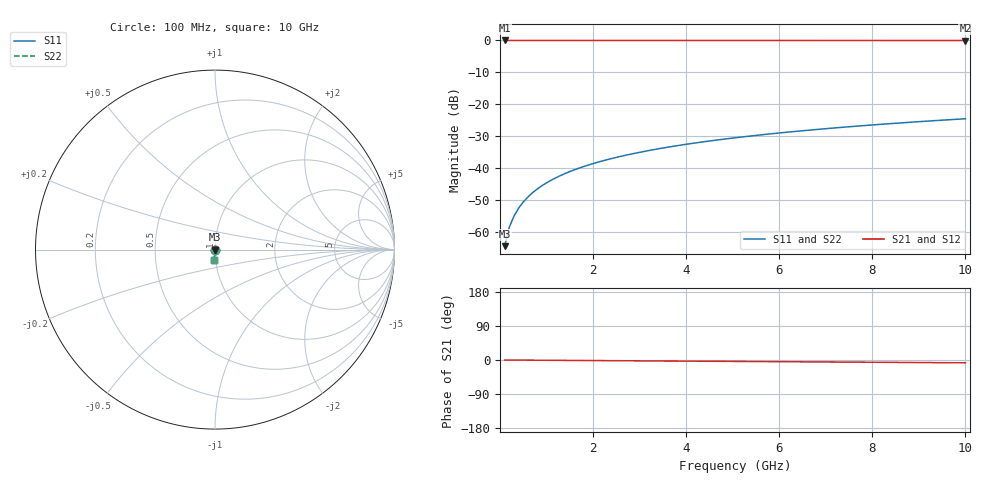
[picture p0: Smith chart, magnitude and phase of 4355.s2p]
# Hz S RI R 50.00
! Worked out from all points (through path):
!   100 points, 100 MHz to 10 GHz, reference 50 ohm
!   highest |S21| = 0.00 dB at 100 MHz (marker M1); lowest = 0.0 dB at 10 GHz (marker M2)
!   group delay of S21, straight-line fit = 2.07 ps
!   lowest |S11| = -64.5 dB at 100 MHz (marker M3), VSWR 1.00, Z = 50 - j0.0587 ohm
!   |S11| at or under -10 dB: start of sweep to end of sweep
!   |S22| runs from -64.5 to -24.5 dB; largest |S21 - S12| = 0
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1e8  0.000113 -0.000587  0.9999 -0.00128  0.9999 -0.00128  0.000113 -0.000587
2e8  0.00011 -0.00117  0.9999 -0.00256  0.9999 -0.00256  0.00011 -0.00117
3e8  0.000106 -0.00176  0.9999 -0.00384  0.9999 -0.00384  0.000106 -0.00176
4e8  0.000101 -0.00235  0.9999 -0.00512  0.9999 -0.00512  0.000101 -0.00235
5e8  9.34e-05 -0.00293  0.9999 -0.0064  0.9999 -0.0064  9.34e-05 -0.00293
6e8  8.46e-05 -0.00352  0.9998 -0.00768  0.9998 -0.00768  8.46e-05 -0.00352
7e8  7.43e-05 -0.00411  0.9998 -0.00896  0.9998 -0.00896  7.43e-05 -0.00411
8e8  6.24e-05 -0.00469  0.9998 -0.0102  0.9998 -0.0102  6.24e-05 -0.00469
9e8  4.9e-05 -0.00528  0.9998 -0.0115  0.9998 -0.0115  4.9e-05 -0.00528
1.1e9  1.76e-05 -0.00646  0.9998 -0.0141  0.9998 -0.0141  1.76e-05 -0.00646
1.4e9  -4.09e-05 -0.00822  0.9997 -0.0179  0.9997 -0.0179  -4.09e-05 -0.00822
1.8e9  -0.00014 -0.0106  0.9995 -0.0231  0.9995 -0.0231  -0.00014 -0.0106
2.1e9  -0.000231 -0.0123  0.9994 -0.0269  0.9994 -0.0269  -0.000231 -0.0123
2.5e9  -0.000373 -0.0147  0.9992 -0.0321  0.9992 -0.0321  -0.000373 -0.0147
2.9e9  -0.000539 -0.0171  0.999 -0.0372  0.999 -0.0372  -0.000539 -0.0171
3.4e9  -0.000782 -0.02  0.9987 -0.0437  0.9987 -0.0437  -0.000782 -0.02
4.2e9  -0.00125 -0.0247  0.9981 -0.054  0.9981 -0.054  -0.00125 -0.0247
5.1e9  -0.0019 -0.0301  0.9972 -0.0656  0.9972 -0.0656  -0.0019 -0.0301
5.9e9  -0.00258 -0.0348  0.9963 -0.076  0.9963 -0.076  -0.00258 -0.0348
6.7e9  -0.00336 -0.0395  0.9953 -0.0863  0.9953 -0.0863  -0.00336 -0.0395
8.4e9  -0.00535 -0.0495  0.9927 -0.1084  0.9927 -0.1084  -0.00535 -0.0495
1e10  -0.00763 -0.0588  0.9896 -0.1291  0.9896 -0.1291  -0.00763 -0.0588
